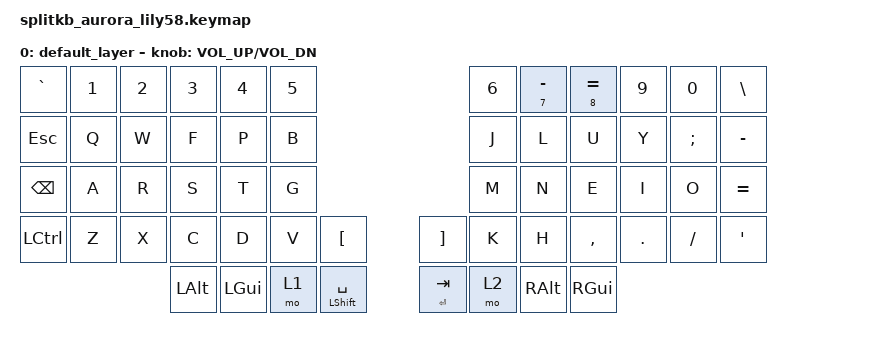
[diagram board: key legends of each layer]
/*
 * Copyright (c) 2022 The ZMK Contributors
 *
 * SPDX-License-Identifier: MIT
 */

#include <behaviors.dtsi>
#include <dt-bindings/zmk/keys.h>
#include <dt-bindings/zmk/bt.h>
#include <dt-bindings/zmk/ext_power.h>

/ {
    keymap {
        compatible = "zmk,keymap";

        default_layer {
          bindings = <
&kp GRAVE &kp N1 &kp N2 &kp N3   &kp N4   &kp N5                                  &kp N6 &mt N7 MINUS &mt N8 EQUAL &kp N9  &kp N0   &kp BSLH
&kp ESC   &kp Q  &kp W  &kp F    &kp P    &kp B                                   &kp J  &kp L        &kp U        &kp Y   &kp SEMI &kp MINUS
&kp BSPC  &kp A  &kp R  &kp S    &kp T    &kp G                                   &kp M  &kp N        &kp E        &kp I   &kp O    &kp EQUAL
&kp LCTRL &kp Z  &kp X  &kp C    &kp D    &kp V  &kp LBKT          &kp RBKT       &kp K  &kp H        &kp COMMA    &kp DOT &kp FSLH &kp SQT
                        &kp LALT &kp LGUI &mo 1  &mt LSHIFT SPACE  &mt RET TAB    &mo 2  &kp RALT     &kp RGUI
            >;

            sensor-bindings = <&inc_dec_kp C_VOL_UP C_VOL_DN>;
        };
    };
};
